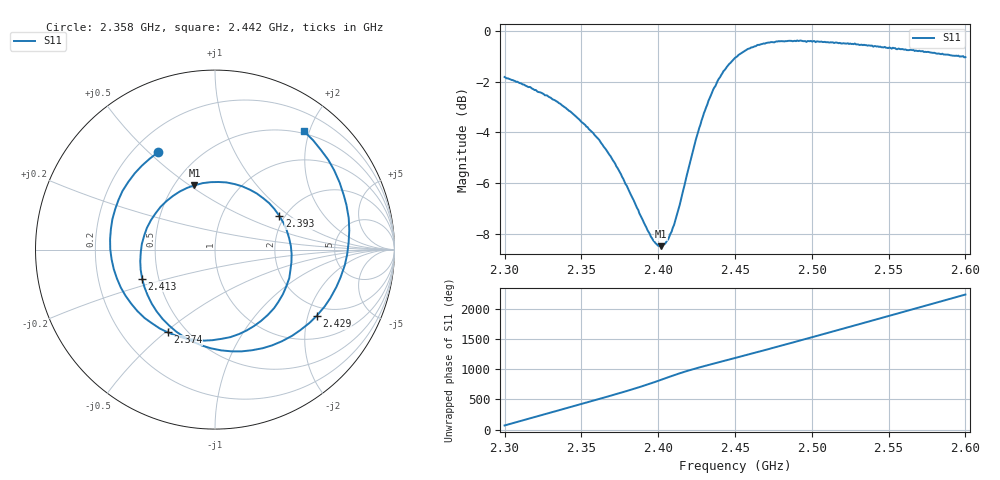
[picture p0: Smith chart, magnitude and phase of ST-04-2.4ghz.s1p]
! NanoVNA-App
! Date: 2026-05-22 18:50:04
! Start: 2.3GHz Stop: 2.6GHz Points: 401
! S-Parameter data: F S11
# Hz S RI R 50
!  Frequency  S11_Real  S11_Imag
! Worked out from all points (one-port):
!   401 points, 2.3 GHz to 2.6 GHz, reference 50 ohm
!   lowest |S11| = -8.5 dB at 2.402 GHz (marker M1), VSWR 2.21, Z = 31.3 + j26.1 ohm
!   |S11| at or under -10 dB: nowhere
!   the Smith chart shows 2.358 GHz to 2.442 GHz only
!   S11 on the Smith chart (normalised r, x): 2.358 GHz: 0.30, +0.53; 2.374 GHz: 0.40, -0.51; 2.393 GHz: 1.88, +0.84; 2.413 GHz: 0.40, -0.16; 2.429 GHz: 1.68, -2.28; 2.442 GHz: 0.46, +1.92
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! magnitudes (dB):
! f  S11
! 2.3 GHz  -1.8
! 2.317 GHz  -2.2
! 2.329 GHz  -2.6
! 2.337 GHz  -2.9
! 2.345 GHz  -3.3
! 2.358 GHz  -4.0
! 2.368 GHz  -4.8
! 2.374 GHz  -5.5
! 2.375 GHz  -5.6
! 2.393 GHz  -7.9
! 2.398 GHz  -8.4
! 2.402 GHz  -8.5
! 2.405 GHz  -8.4
! 2.407 GHz  -8.1
! 2.41 GHz  -7.7
! 2.413 GHz  -7.2
! 2.423 GHz  -4.6
! 2.429 GHz  -3.4
! 2.435 GHz  -2.4
! 2.442 GHz  -1.7
! 2.45 GHz  -1.1
! 2.458 GHz  -0.7
! 2.466 GHz  -0.6
! 2.478 GHz  -0.4
! 2.487 GHz  -0.4
! 2.525 GHz  -0.5
! 2.562 GHz  -0.8
! 2.6 GHz  -1.0
